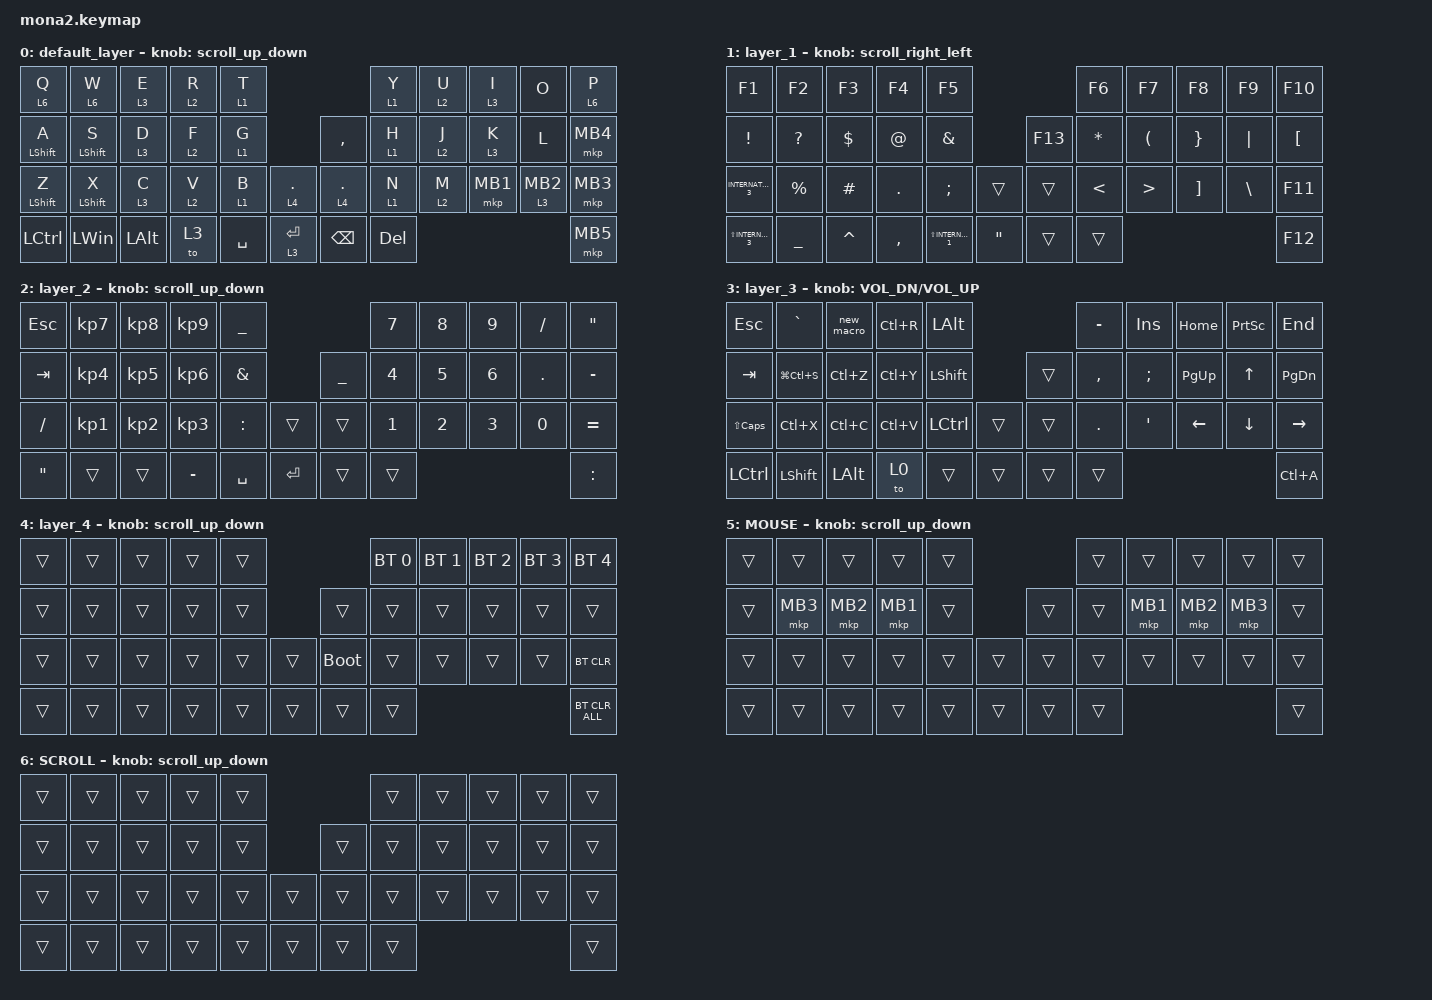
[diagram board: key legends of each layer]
#include <input/processors.dtsi>
#include <dt-bindings/zmk/input_transform.h>
#include <zephyr/dt-bindings/input/input-event-codes.h>
#include <behaviors.dtsi>
#include <dt-bindings/zmk/bt.h>
#include <dt-bindings/zmk/keys.h>
#include <dt-bindings/zmk/pointing.h>

#define ZMK_POINTING_DEFAULT_SCRL_VAL 100
#define MOUSE 5
#define SCROLL 6

&mt {
    flavor = "balanced";
    quick-tap-ms = <200>;
    require-prior-idle-ms = <125>;
};

&lt {
    quick-tap-ms = <200>;
    flavor = "balanced";
    require-prior-idle-ms = <125>;
};

/ {
    combos {
        compatible = "zmk,combos";

        layer4_ESC {
            bindings = <&lt 4 ESC>;
            key-positions = <39 38>;
        };

        tab {
            bindings = <&kp TAB>;
            key-positions = <11 12>;
        };
    };

    macros {
        to_layer_0: to_layer_0 {
            compatible = "zmk,behavior-macro-one-param";
            #binding-cells = <1>;
            bindings = <&to 0 &macro_param_1to1 &kp MACRO_PLACEHOLDER>;
            label = "TO_LAYER_0";
        };

        new_macro: new_macro {
            compatible = "zmk,behavior-macro";
            #binding-cells = <0>;
            bindings = <&none &kp LS(O) &kp K &kp W &kp A &kp D &kp M &kp I &kp N &kp N0 &kp N0 &kp N9 &kp N8>;
            label = "NEW_MACRO";
        };
    };

    behaviors {
        lt_to_layer_0: lt_to_layer_0 {
            compatible = "zmk,behavior-hold-tap";
            label = "LAYER_TAP_TO_0";
            bindings = <&mo>, <&to_layer_0>;

            #binding-cells = <2>;
            tapping-term-ms = <200>;
        };

        scroll_up_down: mouse_wheel_up_down {
            compatible = "zmk,behavior-sensor-rotate";
            #sensor-binding-cells = <0>;
            bindings = <&msc SCRL_DOWN>, <&msc SCRL_UP>;

            tap-ms = <20>;
        };

        scroll_right_left: mouse_wheel_right_left {
            compatible = "zmk,behavior-sensor-rotate";
            #sensor-binding-cells = <0>;
            bindings = <&msc SCRL_LEFT>, <&msc SCRL_RIGHT>;

            tap-ms = <20>;
        };

        Layer_Mkp: Layer_Mkp {
            compatible = "zmk,behavior-hold-tap";
            label = "LAYER_MKP";
            bindings = <&mo>, <&mkp>;

            #binding-cells = <2>;
            tapping-term-ms = <200>;
            require-prior-idle-ms = <125>;
            flavor = "balanced";
        };
    };

    keymap {
        compatible = "zmk,keymap";

        default_layer {
            bindings = <
&lt 6 Q           &lt 6 W           &lt 3 E       &lt 2 R  &lt 1 T                                   &lt 1 Y  &lt 2 U  &lt 3 I   &kp O             &lt 6 P
&mt LEFT_SHIFT A  &mt LEFT_SHIFT S  &lt 3 D       &lt 2 F  &lt 1 G                    &kp COMMA      &lt 1 H  &lt 2 J  &lt 3 K   &kp L             &mkp MB4
&mt LEFT_SHIFT Z  &mt LEFT_SHIFT X  &lt 3 C       &lt 2 V  &lt 1 B    &lt 4 PERIOD    &lt 4 PERIOD   &lt 1 N  &lt 2 M  &mkp MB1  &Layer_Mkp 3 MB2  &mkp MB3
&kp LCTRL         &kp LEFT_WIN      &kp LEFT_ALT  &to 3    &kp SPACE  &lt 3 ENTER     &kp BACKSPACE  &kp DEL                                       &mkp MB5
            >;

            sensor-bindings = <&scroll_up_down>;
        };

        layer_1 {
            bindings = <
&kp F1                   &kp F2        &kp F3     &kp F4       &kp F5                                                 &kp F6         &kp F7                &kp F8             &kp F9         &kp F10
&kp EXCLAMATION          &kp QUESTION  &kp DLLR   &kp AT_SIGN  &kp AMPERSAND                                 &kp F13  &kp ASTERISK   &kp LEFT_PARENTHESIS  &kp RIGHT_BRACE    &kp PIPE       &kp LEFT_BRACKET
&kp INTERNATIONAL_3      &kp PERCENT   &kp HASH   &kp PERIOD   &kp SEMICOLON            &trans               &trans   &kp LESS_THAN  &kp GREATER_THAN      &kp RIGHT_BRACKET  &kp BACKSLASH  &kp F11
&kp LS(INTERNATIONAL_3)  &kp UNDER     &kp CARET  &kp COMMA    &kp LS(INTERNATIONAL_1)  &kp DOUBLE_QUOTES    &trans   &trans                                                                 &kp F12
            >;

            sensor-bindings = <&scroll_right_left>;
        };

        layer_2 {
            bindings = <
&kp ESCAPE         &kp KP_NUMBER_7  &kp KP_NUMBER_8  &kp KP_NUMBER_9  &kp UNDER                              &kp NUMBER_7  &kp NUMBER_8  &kp NUMBER_9  &kp SLASH     &kp DOUBLE_QUOTES
&kp TAB            &kp KP_NUMBER_4  &kp KP_NUMBER_5  &kp KP_NUMBER_6  &kp AMPERSAND               &kp UNDER  &kp NUMBER_4  &kp NUMBER_5  &kp NUMBER_6  &kp PERIOD    &kp MINUS
&kp SLASH          &kp KP_NUMBER_1  &kp KP_NUMBER_2  &kp KP_NUMBER_3  &kp COLON      &trans       &trans     &kp NUMBER_1  &kp NUMBER_2  &kp NUMBER_3  &kp NUMBER_0  &kp EQUAL
&kp DOUBLE_QUOTES  &trans           &trans           &kp MINUS        &kp SPACE      &kp ENTER    &trans     &trans                                                  &kp COLON
            >;

            sensor-bindings = <&scroll_up_down>;
        };

        layer_3 {
            bindings = <
&kp ESCAPE        &kp GRAVE       &new_macro    &kp LC(R)  &kp LEFT_ALT                        &kp MINUS   &kp INS           &kp HOME        &kp PRINTSCREEN  &kp END
&kp TAB           &kp LG(LC(S))   &kp LC(Z)     &kp LC(Y)  &kp LEFT_SHIFT              &trans  &kp COMMA   &kp SEMICOLON     &kp PAGE_UP     &kp UP_ARROW     &kp PAGE_DOWN
&kp LS(CAPSLOCK)  &kp LC(X)       &kp LC(C)     &kp LC(V)  &kp LEFT_CONTROL  &trans    &trans  &kp PERIOD  &kp SINGLE_QUOTE  &kp LEFT_ARROW  &kp DOWN_ARROW   &kp RIGHT_ARROW
&kp LEFT_CONTROL  &kp LEFT_SHIFT  &kp LEFT_ALT  &to 0      &trans            &trans    &trans  &trans                                                         &kp LC(A)
            >;

            sensor-bindings = <&inc_dec_kp C_VOL_DN C_VOL_UP>;
        };

        layer_4 {
            bindings = <
&trans  &trans  &trans  &trans  &trans                         &bt BT_SEL 0  &bt BT_SEL 1  &bt BT_SEL 2  &bt BT_SEL 3  &bt BT_SEL 4
&trans  &trans  &trans  &trans  &trans            &trans       &trans        &trans        &trans        &trans        &trans
&trans  &trans  &trans  &trans  &trans  &trans    &bootloader  &trans        &trans        &trans        &trans        &bt BT_CLR
&trans  &trans  &trans  &trans  &trans  &trans    &trans       &trans                                                  &bt BT_CLR_ALL
            >;

            sensor-bindings = <&scroll_up_down>;
        };

        MOUSE {
            bindings = <
&trans  &trans    &trans    &trans    &trans                    &trans  &trans    &trans    &trans    &trans
&trans  &mkp MB3  &mkp MB2  &mkp MB1  &trans            &trans  &trans  &mkp MB1  &mkp MB2  &mkp MB3  &trans
&trans  &trans    &trans    &trans    &trans  &trans    &trans  &trans  &trans    &trans    &trans    &trans
&trans  &trans    &trans    &trans    &trans  &trans    &trans  &trans                                &trans
            >;

            sensor-bindings = <&scroll_up_down>;
        };

        SCROLL {
            bindings = <
&trans  &trans  &trans  &trans  &trans                    &trans  &trans  &trans  &trans  &trans
&trans  &trans  &trans  &trans  &trans            &trans  &trans  &trans  &trans  &trans  &trans
&trans  &trans  &trans  &trans  &trans  &trans    &trans  &trans  &trans  &trans  &trans  &trans
&trans  &trans  &trans  &trans  &trans  &trans    &trans  &trans                          &trans
            >;

            sensor-bindings = <&scroll_up_down>;
        };
    };
};
